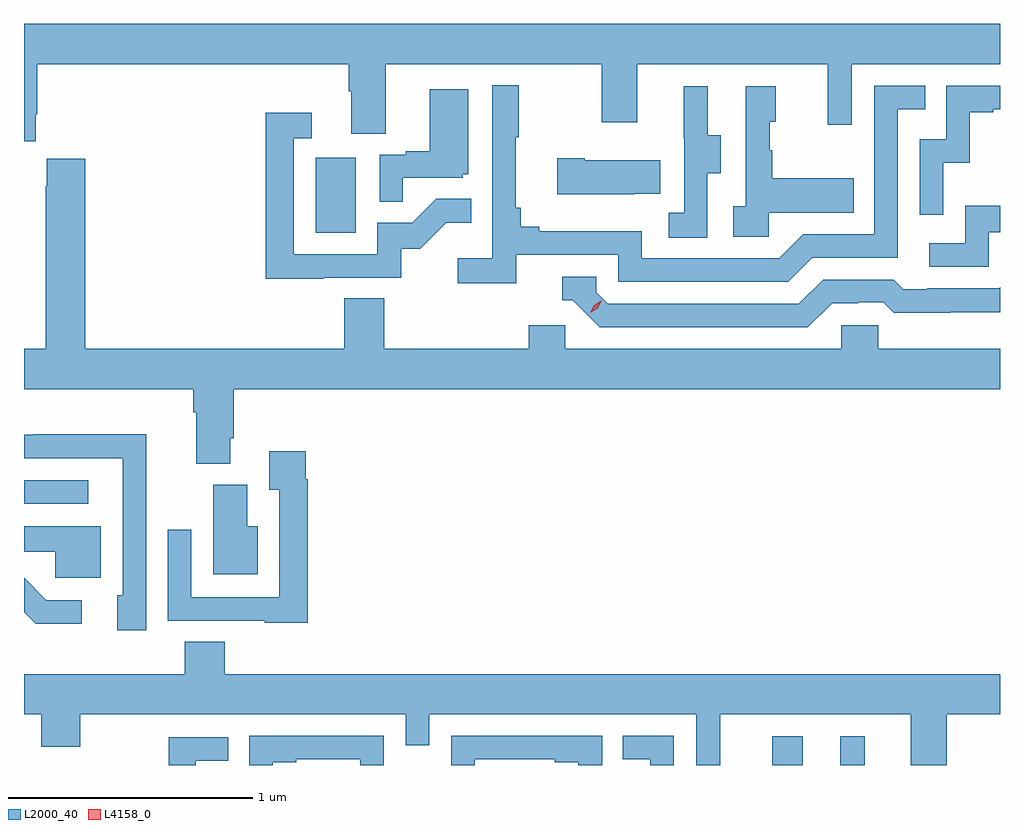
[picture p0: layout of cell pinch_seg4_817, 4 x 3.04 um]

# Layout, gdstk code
import gdstk
lib = gdstk.Library(unit=1e-6, precision=1e-09)
def R(c, l, rs):  # rectangles x0, y0, x1, y1
    for r in rs: c.add(gdstk.rectangle(r[:2], r[2:], *l))
def P(c, l, *ps):  # polygons
    for p in ps: c.add(gdstk.Polygon(p, *l))
L2000_40 = (2000, 40)
L4158_0 = (4158, 0)

pinch_seg4_817 = lib.new_cell('pinch_seg4_817')
R(pinch_seg4_817, L2000_40, [(794.564,792.615,794.688,792.733), (794.843,792.615,794.942,792.733), (791.497,793.686,791.761,793.782), (792.692,794.796,792.856,795.103)])
P(pinch_seg4_817, L2000_40, [(791.497,795.171),(791.545,795.171),(791.545,795.283),(791.552,795.283),(791.552,795.488),(792.827,795.488),(792.827,795.376),(792.839,795.376),(792.839,795.202),(792.979,795.202),(792.979,795.488),(793.864,795.488),(793.864,795.249),(794.011,795.249),(794.011,795.488),(794.792,795.488),(794.792,795.24),(794.889,795.24),(794.889,795.488),(795.497,795.488),(795.497,795.652),(791.497,795.652)],
  [(793.514,794.706),(793.932,794.706),(793.932,794.595),(794.629,794.595),(794.728,794.694),(795.078,794.694),(795.078,795.303),(795.191,795.303),(795.191,795.399),(794.982,795.399),(794.982,794.79),(794.691,794.79),(794.592,794.691),(794.028,794.691),(794.028,794.803),(793.609,794.803),(793.609,794.822),(793.532,794.822),(793.532,794.899),(793.513,794.899),(793.513,795.187),(793.525,795.187),(793.525,795.4),(793.416,795.4),(793.416,794.692),(793.275,794.692),(793.275,794.59),(793.514,794.59)],
  [(795.264,795.083),(795.374,795.083),(795.374,795.291),(795.469,795.291),(795.469,795.303),(795.497,795.303),(795.497,795.399),(795.276,795.399),(795.276,795.18),(795.168,795.18),(795.168,794.871),(795.264,794.871)],
  [(794.298,795.04),(794.353,795.04),(794.353,795.195),(794.299,795.195),(794.299,795.397),(794.201,795.397),(794.201,795.183),(794.202,795.183),(794.202,794.879),(794.139,794.879),(794.139,794.776),(794.298,794.776)],
  [(794.55,794.879),(794.897,794.879),(794.897,795.019),(794.563,795.019),(794.563,795.134),(794.553,795.134),(794.553,795.252),(794.578,795.252),(794.578,795.397),(794.454,795.397),(794.454,794.906),(794.403,794.906),(794.403,794.781),(794.55,794.781)],
  [(793.049,795.021),(793.296,795.021),(793.296,795.036),(793.318,795.036),(793.318,795.385),(793.16,795.385),(793.16,795.13),(793.061,795.13),(793.061,795.117),(792.954,795.117),(792.954,794.923),(793.049,794.923)],
  [(792.725,794.613),(793.044,794.613),(793.044,794.73),(793.12,794.73),(793.227,794.837),(793.331,794.837),(793.331,794.936),(793.187,794.936),(793.089,794.838),(792.945,794.838),(792.945,794.709),(792.603,794.709),(792.603,795.183),(792.676,795.183),(792.676,795.289),(792.487,795.289),(792.487,794.608),(792.725,794.608)],
  [(793.997,794.957),(794.105,794.957),(794.105,795.094),(793.795,795.094),(793.795,795.102),(793.683,795.102),(793.683,794.954),(793.997,794.954)],
  [(792.343,793.954),(792.356,793.954),(792.356,794.156),(795.497,794.156),(795.497,794.32),(794.997,794.32),(794.997,794.418),(794.847,794.418),(794.847,794.32),(793.716,794.32),(793.716,794.418),(793.565,794.418),(793.565,794.32),(792.974,794.32),(792.974,794.528),(792.809,794.528),(792.809,794.32),(791.747,794.32),(791.747,795.1),(791.591,795.1),(791.591,794.987),(791.587,794.987),(791.587,794.32),(791.497,794.32),(791.497,794.156),(792.191,794.156),(792.191,794.06),(792.203,794.06),(792.203,793.849),(792.343,793.849)],
  [(795.45,794.799),(795.497,794.799),(795.497,794.908),(795.354,794.908),(795.354,794.754),(795.207,794.754),(795.207,794.658),(795.45,794.658)],
  [(794.809,794.508),(794.916,794.508),(794.916,794.511),(795.019,794.511),(795.061,794.469),(795.294,794.469),(795.294,794.471),(795.497,794.471),(795.497,794.573),(795.492,794.568),(795.199,794.568),(795.199,794.565),(795.1,794.565),(795.061,794.604),(794.772,794.604),(794.673,794.505),(793.89,794.505),(793.842,794.553),(793.842,794.616),(793.703,794.616),(793.703,794.52),(793.746,794.52),(793.857,794.409),(794.71,794.409)],
  [(791.997,793.666),(791.999,793.666),(791.999,793.97),(791.536,793.97),(791.536,793.968),(791.497,793.968),(791.497,793.872),(791.901,793.872),(791.901,793.311),(791.879,793.311),(791.879,793.167),(791.997,793.167)],
  [(792.659,793.787),(792.652,793.787),(792.652,793.9),(792.503,793.9),(792.503,793.744),(792.543,793.744),(792.543,793.302),(792.183,793.302),(792.183,793.579),(792.087,793.579),(792.087,793.206),(792.483,793.206),(792.483,793.199),(792.659,793.199)],
  [(792.454,793.594),(792.412,793.594),(792.412,793.764),(792.272,793.764),(792.272,793.397),(792.454,793.397)],
  [(791.812,793.594),(791.497,793.594),(791.497,793.49),(791.625,793.49),(791.625,793.383),(791.812,793.383)],
  [(791.734,793.29),(791.589,793.29),(791.497,793.382),(791.497,793.242),(791.546,793.193),(791.734,793.193)],
  [(794.351,792.824),(795.131,792.824),(795.131,792.615),(795.279,792.615),(795.279,792.824),(795.497,792.824),(795.497,792.988),(792.32,792.988),(792.32,793.121),(792.155,793.121),(792.155,792.988),(791.497,792.988),(791.497,792.824),(791.567,792.824),(791.567,792.689),(791.727,792.689),(791.727,792.824),(793.062,792.824),(793.062,792.697),(793.158,792.697),(793.158,792.824),(794.253,792.824),(794.253,792.615),(794.351,792.615)],
  [(792.517,792.627),(792.613,792.627),(792.613,792.639),(792.876,792.639),(792.876,792.615),(792.972,792.615),(792.972,792.735),(792.42,792.735),(792.42,792.615),(792.517,792.615)],
  [(794.16,792.735),(793.951,792.735),(793.951,792.639),(794.064,792.639),(794.064,792.615),(794.16,792.615)],
  [(793.344,792.639),(793.673,792.639),(793.673,792.627),(793.769,792.627),(793.769,792.615),(793.866,792.615),(793.866,792.735),(793.248,792.735),(793.248,792.615),(793.344,792.615)],
  [(792.201,792.632),(792.335,792.632),(792.335,792.729),(792.09,792.729),(792.09,792.615),(792.201,792.615)])
P(pinch_seg4_817, L4158_0, [(793.818,794.468),(793.818,794.468),(793.834,794.5),(793.865,794.52),(793.865,794.52),(793.865,794.519),(793.849,794.487),(793.818,794.468)])

lib.write_gds('pinch_seg4_817.gds')
